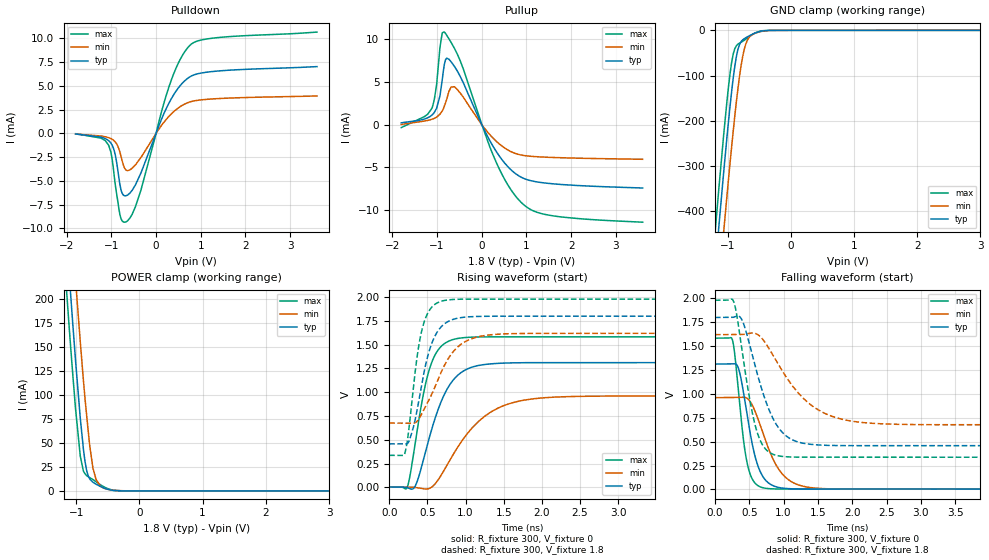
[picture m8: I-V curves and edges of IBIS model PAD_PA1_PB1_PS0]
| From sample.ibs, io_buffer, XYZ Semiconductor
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[Model]   PAD_PA1_PB1_PS0
Model_type I/O
Vinl  =  0.54
Vinh  =  1.26
Vmeas =  0.9
| Capacitance   typ   min   max
C_comp   1.4956e-12   1.4369e-12   1.5705e-12
| Variables   typ   min   max
[GND Clamp Reference]   0   0   0
[POWER Clamp Reference]   1.8   1.62   1.98
[Pulldown Reference]   0   0   0
[Pullup Reference]   1.8   1.62   1.98
[Temperature Range]   25   125   -40
[Voltage Range]   1.8   1.62   1.98
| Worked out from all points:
|   slope of the pulldown table from 0 to 0.27 V, typ, clamps not added: 89.5 ohm
|   slope of the pullup table from 0 to 0.27 V, typ, clamps not added: 100 ohm
|   GND clamp passes 1 mA (typ) near -0.41 V on its own axis
|   POWER clamp passes 1 mA (typ) near -0.45 V on its own axis
|   rising waveform, R_fixture 300, V_fixture 0: 20-80 % time 331ps typ, 560ps min, 223ps max; typ from 0.003 V to 1.31 V
|   rising waveform, R_fixture 300, V_fixture 1.8: 20-80 % time 222ps typ, 358ps min, 162ps max; typ from 0.457 V to 1.8 V
|   falling waveform, R_fixture 300, V_fixture 0: 20-80 % time 210ps typ, 334ps min, 147ps max; typ from 1.31 V to 0.003 V
|   falling waveform, R_fixture 300, V_fixture 1.8: 20-80 % time 358ps typ, 611ps min, 233ps max; typ from 1.8 V to 0.457 V
[GND Clamp]
| Voltage   I(typ)   I(min)   I(max)
-1.8V     -1.523A    -1.632A    -1.455A
-1.234V   -589.8mA   -717.8mA   -507.6mA
-1.135V   -428.7mA   -559.6mA   -344.9mA
-1.06V    -311.2mA   -442.8mA   -228.7mA
-984.8mV  -200.8mA   -329mA     -124.5mA
-934.9mV  -134.5mA   -256.7mA   -70.5mA
-860mV    -57.76mA   -157.4mA   -34.04mA
-810.1mV  -31.2mA    -101.1mA   -28.18mA
-760.2mV  -21.05mA   -57.46mA   -24.18mA
-685.3mV  -14.31mA   -21.45mA   -16.91mA
-335.8mV  -105.8uA   -277.2uA   -84.92uA
3.6V      0A         0A         0A
[POWER Clamp]
| Voltage   I(typ)   I(min)   I(max)
-1.8V     902.6mA    988.3mA    831.8mA
-1.16V    271.7mA    359.1mA    215.7mA
-1.135V   248.2mA    335.3mA    192.6mA
-1.085V   202mA      288.3mA    147.7mA
-1.01V    135.6mA    219.8mA    85.36mA
-934.9mV  75.74mA    155.1mA    36.16mA
-860mV    30.67mA    95.95mA    17.94mA
-785.1mV  12.31mA    46.92mA    13.86mA
-735.2mV  9.047mA    23.88mA    11.82mA
-685.3mV  7.019mA    11.86mA    9.539mA
-410.7mV  436.2uA    585uA      622.9uA
3.6V      0A         0A         0A
[Pullup]
| Voltage   I(typ)   I(min)   I(max)
-1.8V     215.7uA    24.33uA    -345.1uA
-1.11V    1.146mA    636.6uA    1.96mA
-1.01V    1.921mA    880uA      4.672mA
-934.9mV  3.375mA    1.22mA     9.046mA
-885mV    5.21mA     1.588mA    10.74mA
-835.1mV  7.106mA    2.199mA    10.86mA
-785.1mV  7.796mA    2.954mA    10.49mA
-610.4mV  6.826mA    4.44mA     8.943mA
313.3mV   -3.057mA   -1.893mA   -4.292mA
887.5mV   -6.177mA   -3.57mA    -9.149mA
1.562V    -6.925mA   -3.845mA   -10.67mA
3.6V      -7.432mA   -4.062mA   -11.44mA
[Pulldown]
| Voltage   I(typ)   I(min)   I(max)
-1.8V     -62.47uA   -70.83uA   -35.99uA
-1.06V    -760.3uA   -449.4uA   -1.25mA
-984.8mV  -1.213mA   -610.9uA   -2.616mA
-934.9mV  -1.832mA   -788.9uA   -4.524mA
-810.1mV  -5.34mA    -1.94mA    -8.513mA
-685.3mV  -6.567mA   -3.792mA   -9.328mA
-535.5mV  -5.992mA   -3.67mA    -8.519mA
-335.8mV  -4.134mA   -2.518mA   -5.923mA
338.3mV   3.622mA    2.037mA    5.575mA
737.7mV   5.896mA    3.282mA    9.174mA
1.337V    6.545mA    3.648mA    10.06mA
3.6V      7.027mA    3.935mA    10.66mA
[Ramp]
dV/dt_r   0.785612/0.331168n  0.57502/0.559553n  0.948052/0.223481n
dV/dt_f   0.805681/0.357848n  0.566244/0.610972n  0.986156/0.232579n
R_load = 300
[Rising Waveform]
R_fixture = 300
V_fixture = 0
V_fixture_min = 0
V_fixture_max = 0
| Time   V(typ)   V(min)   V(max)
0s        2.674mV    2.295mV    3.118mV
229.8ps   -1.644mV   1.61mV     -9.132mV
333.5ps   3.145mV    -464.9uV   427.8mV
447.5ps   287.9mV    -16.48mV   978.6mV
552.5ps   598.8mV    -472.3uV   1.304V
706.2ps   949.2mV    162mV      1.501V
870.4ps   1.157V     387.7mV    1.561V
1.324ns   1.298V     787.7mV    1.582V
1.962ns   1.311V     937.3mV    1.582V
8.333ns   1.312V     960.7mV    1.583V
[Rising Waveform]
R_fixture = 300
V_fixture = 1.8
V_fixture_min = 1.62
V_fixture_max = 1.98
| Time   V(typ)   V(min)   V(max)
0s        457.2mV    676.3mV    336.4mV
203.7ps   456.3mV    675.5mV    354.1mV
248.7ps   469.6mV    675.3mV    554mV
311.5ps   617.4mV    673.7mV    1.008V
432.6ps   1.111V     783.5mV    1.668V
551.3ps   1.501V     968.4mV    1.889V
701.2ps   1.704V     1.247V     1.962V
979.8ps   1.789V     1.525V     1.979V
1.453ns   1.8V       1.612V     1.979V
8.333ns   1.8V       1.62V      1.98V
[Falling Waveform]
R_fixture = 300
V_fixture = 0
V_fixture_min = 0
V_fixture_max = 0
| Time   V(typ)   V(min)   V(max)
0s        1.312V     960.7mV    1.583V
253.8ps   1.313V     961.4mV    1.568V
349.4ps   1.253V     962.5mV    981.8mV
413.4ps   1.028V     964.4mV    533.4mV
468.8ps   784.3mV    953.3mV    278.1mV
583.3ps   349.9mV    820.6mV    66.47mV
704.5ps   127.6mV    580.1mV    16.17mV
997.4ps   12.19mV    148.6mV    4.034mV
1.428ns   3.438mV    15.73mV    3.98mV
8.333ns   2.674mV    2.295mV    3.118mV
[Falling Waveform]
R_fixture = 300
V_fixture = 1.8
V_fixture_min = 1.62
V_fixture_max = 1.98
| Time   V(typ)   V(min)   V(max)
0s        1.8V       1.62V      1.98V
271.7ps   1.802V     1.621V     1.968V
404ps     1.759V     1.621V     1.412V
597ps     1.262V     1.63V      642.2mV
710.2ps   986.3mV    1.558V     446.9mV
880.1ps   696.5mV    1.362V     358.7mV
1.084ns   536mV      1.128V     339.4mV
1.394ns   471.8mV    886.9mV    336.9mV
2.089ns   457.8mV    704.7mV    336.9mV
8.333ns   457.2mV    676.3mV    336.4mV
